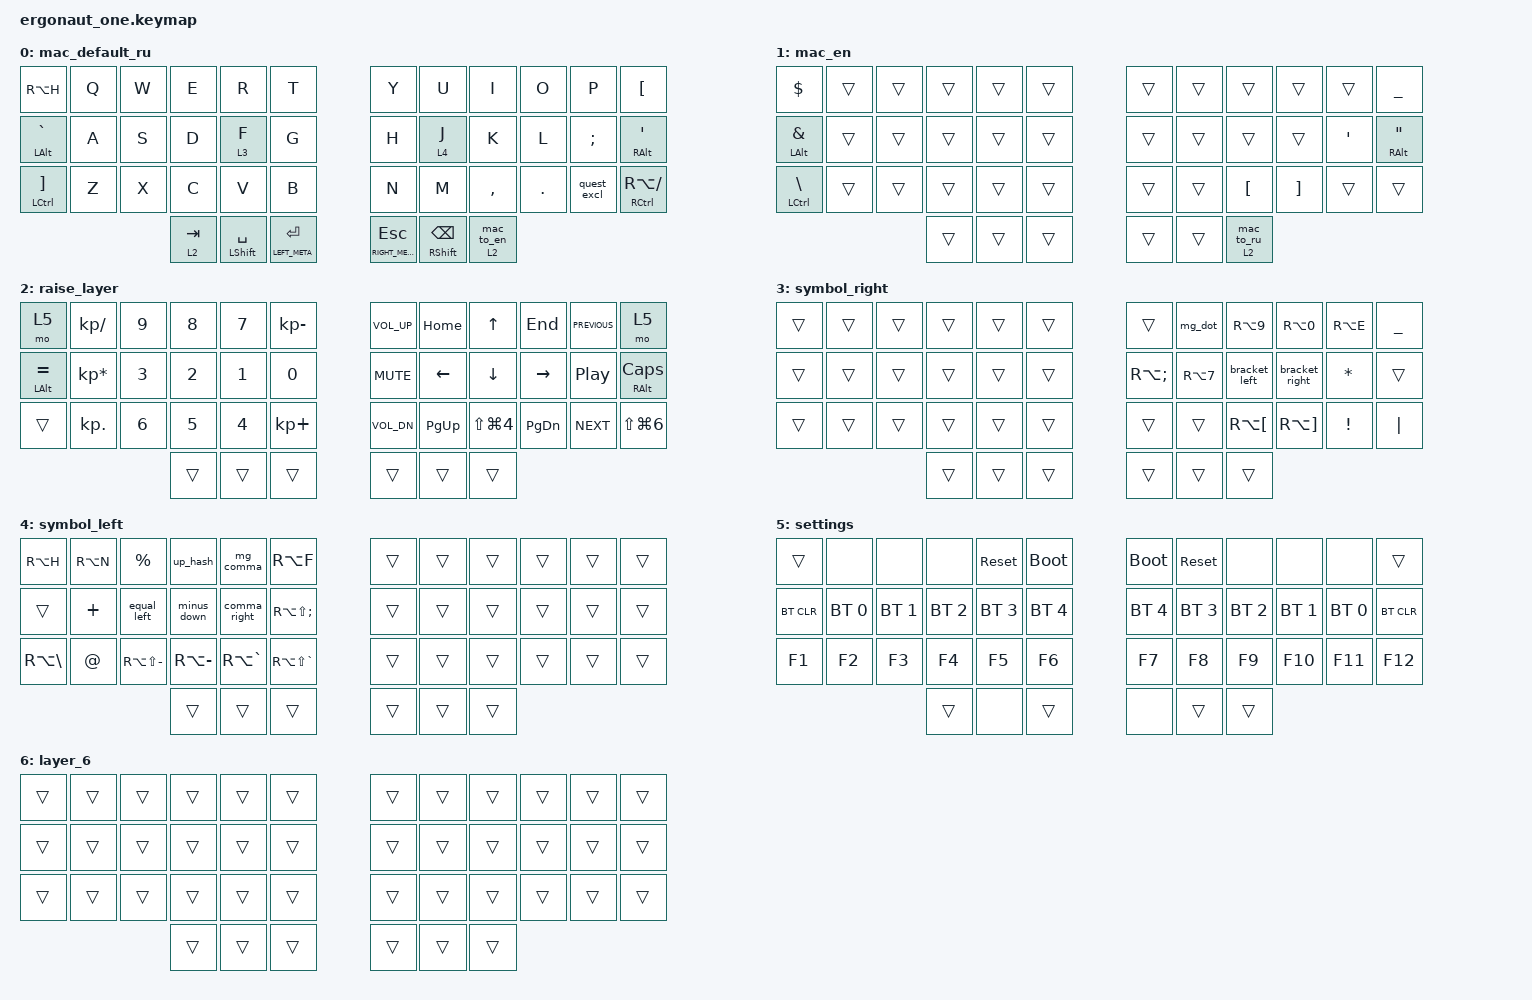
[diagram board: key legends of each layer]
#include <behaviors.dtsi>
#include <dt-bindings/zmk/keys.h>
#include <dt-bindings/zmk/bt.h>

#define DEF 0
#define LWR 1
#define RSE 2
#define ADJ 3

&lt { quick-tap-ms = <200>; };

&mt { quick-tap-ms = <200>; };

&sk {
    quick-release;
    release-after-ms = <2000>;
};

/ {
    conditional_layers { compatible = "zmk,conditional-layers"; };

    macros {
        mg_dot: mg_dot {
            compatible = "zmk,behavior-macro";
            #binding-cells = <0>;
            bindings = <&kp RA(N7) &kp SPACE &sk LEFT_SHIFT>;
            label = "MG_DOT";
            wait-ms = <5>;
            tap-ms = <5>;
        };

        mg_comma: mg_comma {
            compatible = "zmk,behavior-macro";
            #binding-cells = <0>;
            bindings = <&kp RA(N6) &kp SPACE>;
            label = "MG_COMMA";
            wait-ms = <5>;
            tap-ms = <5>;
        };

        mac_to_en: mac_to_en {
            compatible = "zmk,behavior-macro";
            #binding-cells = <0>;
            bindings = <&kp LS(LC(LA(NUMBER_1))) &to 1>;
            label = "MAC_TO_EN";
            wait-ms = <5>;
            tap-ms = <5>;
        };

        mac_to_ru: mac_to_ru {
            compatible = "zmk,behavior-macro";
            #binding-cells = <0>;
            bindings = <&kp LS(LC(LA(NUMBER_2))) &to 0>;
            label = "MAC_TO_RU";
            wait-ms = <5>;
            tap-ms = <5>;
        };
    };

    behaviors {
        quest_excl: quest_excl {
            compatible = "zmk,behavior-mod-morph";
            label = "QUEST_EXCL";
            bindings = <&kp RA(LS(SLASH))>, <&kp EXCLAMATION>;

            #binding-cells = <0>;
            mods = <(MOD_LSFT|MOD_RSFT)>;
        };

        bracket_left: bracket_left {
            compatible = "zmk,behavior-mod-morph";
            label = "BRACKET_LEFT";
            bindings = <&kp LEFT_PARENTHESIS>, <&kp RA(LS(N6))>;

            #binding-cells = <0>;
            mods = <(MOD_LSFT|MOD_RSFT)>;
            keep-mods = <(MOD_LSFT|MOD_RSFT)>;
        };

        bracket_right: bracket_right {
            compatible = "zmk,behavior-mod-morph";
            label = "BRACKET_RIGHT";
            bindings = <&kp RIGHT_PARENTHESIS>, <&kp RA(LS(N7))>;

            #binding-cells = <0>;
            mods = <(MOD_LSFT|MOD_RSFT)>;
            keep-mods = <(MOD_LSFT|MOD_RSFT)>;
        };

        comma_right: comma_right {
            compatible = "zmk,behavior-mod-morph";
            label = "COMMA_RIGHT";
            bindings = <&kp RA(N6)>, <&kp RA(L)>;

            #binding-cells = <0>;
            mods = <(MOD_LSFT|MOD_RSFT)>;
        };

        minus_down: minus_down {
            compatible = "zmk,behavior-mod-morph";
            label = "MINUS_DOWN";
            bindings = <&kp MINUS>, <&kp RA(K)>;

            #binding-cells = <0>;
            mods = <(MOD_LSFT|MOD_RSFT)>;
        };

        up_hash: up_hash {
            compatible = "zmk,behavior-mod-morph";
            label = "UP_HASH";
            bindings = <&kp HASH>, <&kp RA(I)>;

            #binding-cells = <0>;
            mods = <(MOD_LSFT|MOD_RSFT)>;
        };

        equal_left: equal_left {
            compatible = "zmk,behavior-mod-morph";
            label = "EQUAL_LEFT";
            bindings = <&kp EQUAL>, <&kp RA(J)>;

            #binding-cells = <0>;
            mods = <(MOD_LSFT|MOD_RSFT)>;
        };

        hrm_left: hrm_left {
            compatible = "zmk,behavior-hold-tap";
            label = "HRM_LEFT";
            bindings = <&mo>, <&kp>;

            #binding-cells = <2>;
            tapping-term-ms = <220>;
            quick-tap-ms = <175>;
            require-prior-idle-ms = <100>;
            flavor = "balanced";
            hold-trigger-key-positions = <7 8 9 11 18 19 20 21 22 32 33 34 35>;
        };

        hrm_right: hrm_right {
            compatible = "zmk,behavior-hold-tap";
            label = "HRM_RIGHT";
            bindings = <&mo>, <&kp>;

            #binding-cells = <2>;
            tapping-term-ms = <220>;
            quick-tap-ms = <175>;
            require-prior-idle-ms = <100>;
            flavor = "balanced";
            hold-trigger-key-positions = <0 1 2 4 5 13 14 15 16 17 24 25 26 27 28 29 3>;
        };

        to_en_raise: to_en_raise {
            compatible = "zmk,behavior-hold-tap";
            label = "TO_EN_RAISE";
            bindings = <&mo>, <&mac_to_en>;

            #binding-cells = <2>;
            tapping-term-ms = <200>;
            quick-tap-ms = <175>;
            require-prior-idle-ms = <150>;
            flavor = "balanced";
        };

        to_ru_raise: to_ru_raise {
            compatible = "zmk,behavior-hold-tap";
            label = "TO_RU_RAISE";
            bindings = <&mo>, <&mac_to_ru>;

            #binding-cells = <2>;
            tapping-term-ms = <200>;
            quick-tap-ms = <175>;
            require-prior-idle-ms = <150>;
            flavor = "balanced";
        };
    };

    combos {
        compatible = "zmk,combos";

        left_brace {
            bindings = <&kp LA(LS(LEFT_BRACKET))>;
            key-positions = <5 4>;
            timeout-ms = <50>;
            require-prior-idle-ms = <100>;
            layers = <0 1>;
        };

        right_brace {
            bindings = <&kp LA(LS(RIGHT_BRACKET))>;
            key-positions = <6 7>;
            timeout-ms = <50>;
            require-prior-idle-ms = <100>;
            layers = <0 1>;
        };

        left_parenthesis {
            bindings = <&kp LEFT_PARENTHESIS>;
            key-positions = <28 27>;
            timeout-ms = <50>;
            require-prior-idle-ms = <100>;
            layers = <0 1>;
        };

        right_parenthesis {
            bindings = <&kp RIGHT_PARENTHESIS>;
            key-positions = <31 32>;
            timeout-ms = <50>;
            require-prior-idle-ms = <100>;
            layers = <0 1>;
        };

        left_bracket {
            bindings = <&kp LA(LEFT_BRACKET)>;
            key-positions = <16 17>;
            timeout-ms = <50>;
            require-prior-idle-ms = <100>;
            layers = <0 1>;
        };

        right_bracket {
            bindings = <&kp LA(RIGHT_BRACKET)>;
            key-positions = <18 19>;
            timeout-ms = <50>;
            require-prior-idle-ms = <100>;
            layers = <0 1>;
        };

        minus {
            bindings = <&kp MINUS>;
            key-positions = <15 16>;
            timeout-ms = <50>;
            require-prior-idle-ms = <100>;
            layers = <0 1>;
        };

        underscore {
            bindings = <&kp LS(MINUS)>;
            key-positions = <19 20>;
            timeout-ms = <50>;
            require-prior-idle-ms = <100>;
            layers = <0 1>;
        };

        quote {
            bindings = <&kp LS(RA(SQT))>;
            key-positions = <3 4>;
            timeout-ms = <50>;
            require-prior-idle-ms = <100>;
            layers = <0 1>;
        };

        apostrophe {
            bindings = <&kp RA(SQT)>;
            key-positions = <7 8>;
            timeout-ms = <50>;
            require-prior-idle-ms = <100>;
            layers = <0 1>;
        };

        less {
            bindings = <&kp LS(RA(LESS_THAN))>;
            key-positions = <28 29>;
            timeout-ms = <50>;
            require-prior-idle-ms = <100>;
            layers = <0 1>;
        };

        greater {
            bindings = <&kp LS(RA(GREATER_THAN))>;
            key-positions = <31 30>;
            timeout-ms = <50>;
            require-prior-idle-ms = <100>;
            layers = <0 1>;
        };
    };

    keymap {
        compatible = "zmk,keymap";

        mac_default_ru {
            bindings = <
&kp RA(H)                       &kp Q  &kp W  &kp E      &kp R            &kp T              &kp Y                  &kp U                &kp I             &kp O       &kp P        &kp LBKT
&mt LEFT_ALT GRAVE              &kp A  &kp S  &kp D      &hrm_left 3 F    &kp G              &kp H                  &hrm_right 4 J       &kp K             &kp L       &kp SEMI     &mt RIGHT_ALT SQT
&mt LEFT_CONTROL RIGHT_BRACKET  &kp Z  &kp X  &kp C      &kp V            &kp B              &kp N                  &kp M                &kp COMMA         &kp PERIOD  &quest_excl  &mt RIGHT_CONTROL RA(SLASH)
                                              &lt 2 TAB  &mt LSHFT SPACE  &mt LEFT_META RET  &mt RIGHT_META ESCAPE  &mt RSHFT BACKSPACE  &to_en_raise 2 0
            >;
        };

        mac_en {
            bindings = <
&kp DOLLAR                  &trans  &trans  &trans  &trans  &trans  &trans  &trans  &trans            &trans             &trans            &kp UNDERSCORE
&mt LEFT_ALT AMPERSAND      &trans  &trans  &trans  &trans  &trans  &trans  &trans  &trans            &trans             &kp SINGLE_QUOTE  &mt RIGHT_ALT DOUBLE_QUOTES
&mt LEFT_CONTROL BACKSLASH  &trans  &trans  &trans  &trans  &trans  &trans  &trans  &kp LEFT_BRACKET  &kp RIGHT_BRACKET  &trans            &trans
                                            &trans  &trans  &trans  &trans  &trans  &to_ru_raise 2 0
            >;
        };

        raise_layer {
            bindings = <
&mo 5               &kp KP_SLASH     &kp N9  &kp N8        &kp N7  &kp KP_MINUS  &kp C_VOL_UP  &kp HOME     &kp UP                &kp END    &kp C_PREVIOUS    &mo 5
&mt LEFT_ALT EQUAL  &kp KP_MULTIPLY  &kp N3  &kp NUMBER_2  &kp N1  &kp N0        &kp C_MUTE    &kp LEFT     &kp DOWN              &kp RIGHT  &kp C_PLAY_PAUSE  &mt RIGHT_ALT CAPSLOCK
&trans              &kp KP_DOT       &kp N6  &kp N5        &kp N4  &kp KP_PLUS   &kp C_VOL_DN  &kp PAGE_UP  &kp LS(LG(NUMBER_4))  &kp PG_DN  &kp C_NEXT        &kp LS(LG(N6))
                                             &trans        &trans  &trans        &trans        &trans       &trans
            >;
        };

        symbol_right {
            bindings = <
&trans  &trans  &trans  &trans  &trans  &trans  &trans             &mg_dot     &kp RA(N9)            &kp RA(N0)             &kp RA(E)        &kp UNDERSCORE
&trans  &trans  &trans  &trans  &trans  &trans  &kp RA(SEMICOLON)  &kp RA(N7)  &bracket_left         &bracket_right         &kp ASTERISK     &trans
&trans  &trans  &trans  &trans  &trans  &trans  &trans             &trans      &kp RA(LEFT_BRACKET)  &kp RA(RIGHT_BRACKET)  &kp EXCLAMATION  &kp PIPE
                        &trans  &trans  &trans  &trans             &trans      &trans
            >;
        };

        symbol_left {
            bindings = <
&kp RA(H)          &kp RA(N)    &kp PERCENT        &up_hash       &mg_comma      &kp RA(F)              &trans  &trans  &trans  &trans  &trans  &trans
&trans             &kp PLUS     &equal_left        &minus_down    &comma_right   &kp RA(LS(SEMICOLON))  &trans  &trans  &trans  &trans  &trans  &trans
&kp RA(BACKSLASH)  &kp AT_SIGN  &kp RA(LS(MINUS))  &kp RA(MINUS)  &kp RA(GRAVE)  &kp RA(LS(GRAVE))      &trans  &trans  &trans  &trans  &trans  &trans
                                                   &trans         &trans         &trans                 &trans  &trans  &trans
            >;
        };

        settings {
            bindings = <
&trans      &none         &none         &none         &sys_reset    &bootloader   &bootloader   &sys_reset    &none         &none         &none         &trans
&bt BT_CLR  &bt BT_SEL 0  &bt BT_SEL 1  &bt BT_SEL 2  &bt BT_SEL 3  &bt BT_SEL 4  &bt BT_SEL 4  &bt BT_SEL 3  &bt BT_SEL 2  &bt BT_SEL 1  &bt BT_SEL 0  &bt BT_CLR
&kp F1      &kp F2        &kp F3        &kp F4        &kp F5        &kp F6        &kp F7        &kp F8        &kp F9        &kp F10       &kp F11       &kp F12
                                        &trans        &none         &trans        &none         &trans        &trans
            >;
        };

        layer_6 {
            bindings = <
&trans  &trans  &trans  &trans  &trans  &trans  &trans  &trans  &trans  &trans  &trans  &trans
&trans  &trans  &trans  &trans  &trans  &trans  &trans  &trans  &trans  &trans  &trans  &trans
&trans  &trans  &trans  &trans  &trans  &trans  &trans  &trans  &trans  &trans  &trans  &trans
                        &trans  &trans  &trans  &trans  &trans  &trans
            >;
        };
    };
};
